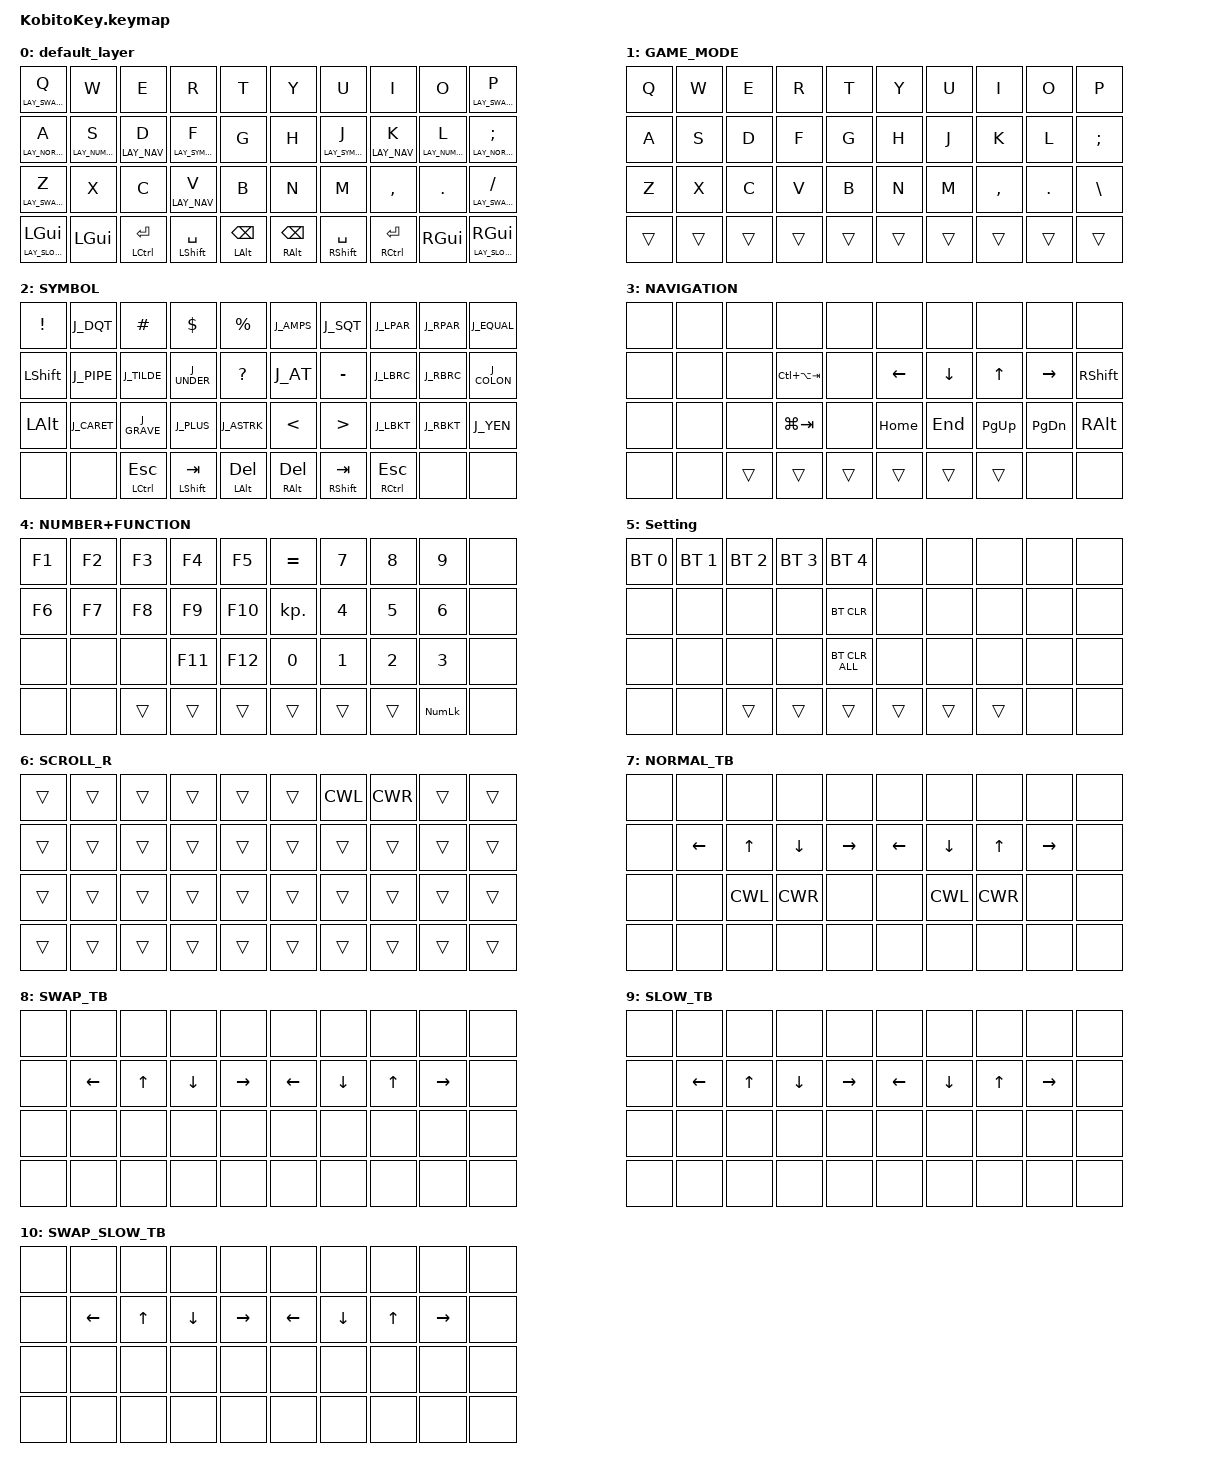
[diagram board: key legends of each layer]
#include <input/processors.dtsi>
#include <behaviors.dtsi>
#include <dt-bindings/zmk/bt.h>
#include <dt-bindings/zmk/keys.h>
#include <dt-bindings/zmk/pointing.h>
#include "my_defines.dtsi"

/ {
    /* ========================================
     * カスタムビヘイビア定義
     * ======================================== */
    behaviors {
        /* モッドタップ: 長押しで修飾キー、タップで通常キー */
        mt: mod_tap {
            compatible = "zmk,behavior-hold-tap";
            #binding-cells = <2>;
            tapping-term-ms = <200>;
            quick-tap-ms = <0>;
            flavor = "tap-preferred";
            bindings = <&kp>, <&kp>;
        };
    };
    
    /* ========================================
     * キーコンボ定義（同時押しで別のキーを発火）
     * ======================================== */
    combos {
        compatible = "zmk,combos";
        
        /* 13 + 16 同時押し → 半角（英数） */
        eisu {
            timeout-ms = <50>;
            key-positions = <13 16>;
            bindings = <&kp J_EISU>;
        };

        /* 12 + 17 同時押し → 全角（かな） */
        kana2 {
            timeout-ms = <50>;
            key-positions = <12 17>;
            bindings = <&kp J_KANA>;
        };

        /* 11 + 18 同時押し → 半角/全角切り替え */
        hanzen {
            timeout-ms = <50>;
            key-positions = <11 18>;
            bindings = <&kp J_HANZEN>;
        };

        /* 13 + 14 同時押し → _ (アンダースコア) */
        underscore_left {
            timeout-ms = <50>;
            key-positions = <13 14>;
            bindings = <&kp J_UNDER>;
        };

        /* 15 + 16 同時押し → - (ハイフン) */
        hyphen_right {
            timeout-ms = <50>;
            key-positions = <15 16>;
            bindings = <&kp MINUS>;
        };

        /* 23 + 24 同時押し → ? (クエスチョン) */
        question_left {
            timeout-ms = <50>;
            key-positions = <23 24>;
            bindings = <&kp QMARK>;
        };

        /* 3 + 4 同時押し → ! (エクスクラメーション) */
        exclamation_left {
            timeout-ms = <50>;
            key-positions = <3 4>;
            bindings = <&kp EXCL>;
        };

        /* 5 + 6 同時押し → @ (アットマーク) */
        at_right {
            timeout-ms = <50>;
            key-positions = <5 6>;
            bindings = <&kp J_AT>;
        };

        /* 21 + 22 同時押し → マウスボタン4（進む） */
        mouse_forward_left {
            timeout-ms = <50>;
            key-positions = <21 22>;
            layers = <LAY_NORMAL_TB LAY_SWAP_SLOW_TB LAY_SLOW_TB LAY_GAME>;
            bindings = <&mkp MB5>;
        };

        /* 3 + 13 同時押し → 左クリック */
        left_click_alt_left {
            timeout-ms = <50>;
            key-positions = <3 13>;
            layers = <LAY_NORMAL_TB LAY_SWAP_SLOW_TB LAY_SLOW_TB LAY_GAME>;
            bindings = <&mkp LCLK>;
        };

        /* 6 + 16 同時押し → 左クリック */
        left_click_alt_right {
            timeout-ms = <50>;
            key-positions = <6 16>;
            layers = <LAY_NORMAL_TB LAY_SWAP_SLOW_TB LAY_SLOW_TB LAY_GAME>;
            bindings = <&mkp LCLK>;
        };

        /* 2 + 12 同時押し → 右クリック */
        right_click_alt_left {
            timeout-ms = <50>;
            key-positions = <2 12>;
            layers = <LAY_NORMAL_TB LAY_SWAP_SLOW_TB LAY_SLOW_TB LAY_GAME>;
            bindings = <&mkp RCLK>;
        };

        /* 7 + 17 同時押し → 右クリック */
        right_click_alt_right {
            timeout-ms = <50>;
            key-positions = <7 17>;
            layers = <LAY_NORMAL_TB LAY_SWAP_SLOW_TB LAY_SLOW_TB LAY_GAME>;
            bindings = <&mkp RCLK>;
        };

        /* 1 + 11 同時押し → 中クリック */
        middle_click_alt_left {
            timeout-ms = <50>;
            key-positions = <1 11>;
            layers = <LAY_NORMAL_TB LAY_SWAP_SLOW_TB LAY_SLOW_TB LAY_GAME>;
            bindings = <&mkp MCLK>;
        };

        /* 8 + 18 同時押し → 中クリック */
        middle_click_alt_right {
            timeout-ms = <50>;
            key-positions = <8 18>;
            layers = <LAY_NORMAL_TB LAY_SWAP_SLOW_TB LAY_SLOW_TB LAY_GAME>;
            bindings = <&mkp MCLK>;
        };

        /* 13 + 23 同時押し → 戻るボタン */
        back_alt_left {
            timeout-ms = <50>;
            key-positions = <13 23>;
            layers = <LAY_NORMAL_TB LAY_SWAP_SLOW_TB LAY_SLOW_TB LAY_GAME>;
            bindings = <&mkp MB4>;
        };

        /* 16 + 26 同時押し → 戻るボタン */
        back_alt_right {
            timeout-ms = <50>;
            key-positions = <16 26>;
            layers = <LAY_NORMAL_TB LAY_SWAP_SLOW_TB LAY_SLOW_TB LAY_GAME>;
            bindings = <&mkp MB4>;
        };

        /* 12 + 22 同時押し → 進むボタン */
        forward_alt_left {
            timeout-ms = <50>;
            key-positions = <12 22>;
            layers = <LAY_NORMAL_TB LAY_SWAP_SLOW_TB LAY_SLOW_TB LAY_GAME>;
            bindings = <&mkp MB5>;
        };

        /* 17 + 27 同時押し → 進むボタン */
        forward_alt_right {
            timeout-ms = <50>;
            key-positions = <17 27>;
            layers = <LAY_NORMAL_TB LAY_SWAP_SLOW_TB LAY_SLOW_TB LAY_GAME>;
            bindings = <&mkp MB5>;
        };

        /* 11 + 21 同時押し → スクリーンショット */
        screenshot_left {
            timeout-ms = <50>;
            key-positions = <11 21>;
            layers = <LAY_NORMAL_TB LAY_SWAP_SLOW_TB LAY_SLOW_TB LAY_GAME>;
            bindings = <&snp_tl>;
        };

        /* 18 + 28 同時押し → スクリーンショット */
        screenshot_right {
            timeout-ms = <50>;
            key-positions = <18 28>;
            layers = <LAY_NORMAL_TB LAY_SWAP_SLOW_TB LAY_SLOW_TB LAY_GAME>;
            bindings = <&snp_tl>;
        };

        /* 8 + 9 同時押し → Layer5 (Setting)トグル */
        setting_mode {
            timeout-ms = <50>;
            key-positions = <8 9>;
            bindings = <&tog LAY_SETTING>;
        };

        /* 0 + 1 同時押し → Layer 1（GAME_MODE、旧layer7）トグル
         * ※旧ONIK_LAYOUT用コンボを転用。layer1の中身をGAME_MODEに差し替えたため、
         *   このコンボの役割もGAME_MODEのトグルに変更した。
         */
        toggle_game_mode {
            timeout-ms = <50>;
            key-positions = <0 1>;
            bindings = <&tog LAY_GAME>;
        };

        /* 16 + 17 同時押し（NUMBER+FUNCTIONレイヤー中のみ） → + */
        numfunc_plus {
            timeout-ms = <50>;
            key-positions = <16 17>;
            layers = <LAY_NUMFUNC>;
            bindings = <&kp KP_PLUS>;
        };

        /* 17 + 18 同時押し（NUMBER+FUNCTIONレイヤー中のみ） → - */
        numfunc_minus {
            timeout-ms = <50>;
            key-positions = <17 18>;
            layers = <LAY_NUMFUNC>;
            bindings = <&kp KP_MINUS>;
        };

        /* 26 + 27 同時押し（NUMBER+FUNCTIONレイヤー中のみ） → * */
        numfunc_multiply {
            timeout-ms = <50>;
            key-positions = <26 27>;
            layers = <LAY_NUMFUNC>;
            bindings = <&kp KP_MULTIPLY>;
        };

        /* 27 + 28 同時押し（NUMBER+FUNCTIONレイヤー中のみ） → / */
        numfunc_divide {
            timeout-ms = <50>;
            key-positions = <27 28>;
            layers = <LAY_NUMFUNC>;
            bindings = <&kp KP_DIVIDE>;
        };

    };

    /* ========================================
     * マクロ定義
     * ======================================== */
    macros {
        /* Windowsスクリーンショット（Win + Shift + S） */
        snp_tl: snp_tl {
            compatible = "zmk,behavior-macro";
            #binding-cells = <0>;
            bindings = <&macro_press &kp LGUI &kp LSHIFT>
                     , <&macro_tap &kp S>
                     , <&macro_release &kp LGUI &kp LSHIFT>;
        };
        
    };

    keymap {
        compatible = "zmk,keymap";

        default_layer {
            bindings =  <
&lt LAY_SWAP_SLOW_TB Q  &kp W              &kp E          &kp R             &kp T           &kp Y          &kp U             &kp I          &kp O              &lt LAY_SWAP_SLOW_TB P
&lt LAY_NORMAL_TB A     &lt LAY_NUMFUNC S  &lt LAY_NAV D  &lt LAY_SYMBOL F  &kp G           &kp H          &lt LAY_SYMBOL J  &lt LAY_NAV K  &lt LAY_NUMFUNC L  &lt LAY_NORMAL_TB SEMI
&lt LAY_SWAP_TB Z       &kp X              &kp C          &lt LAY_NAV V     &kp B           &kp N          &kp M             &kp COMMA      &kp DOT            &lt LAY_SWAP_TB SLASH
&lt LAY_SLOW_TB LGUI    &kp LGUI           &mt LCTRL RET  &mt LSHFT SPC     &mt LALT BSPC   &mt RALT BSPC  &mt RSHFT SPC     &mt RCTRL RET  &kp RGUI           &lt LAY_SLOW_TB RGUI
            >;
        };

        layer1 {
            label = "GAME_MODE";
            bindings = <
&kp Q                   &kp W              &kp E          &kp R             &kp T           &kp Y          &kp U             &kp I          &kp O              &kp P
&kp A                   &kp S              &kp D          &kp F             &kp G           &kp H          &kp J             &kp K          &kp L              &kp SEMI
&kp Z                   &kp X              &kp C          &kp V             &kp B           &kp N          &kp M             &kp COMMA      &kp DOT            &kp BACKSLASH
&trans                  &trans             &trans         &trans            &trans          &trans         &trans            &trans         &trans             &trans
            >;
        };

        layer2 {
            label = "SYMBOL";
            bindings = <
&kp EXCL                &kp J_DQT          &kp HASH       &kp DLLR          &kp PRCNT       &kp J_AMPS     &kp J_SQT         &kp J_LPAR     &kp J_RPAR         &kp J_EQUAL
&kp LSHFT               &kp J_PIPE         &kp J_TILDE    &kp J_UNDER       &kp QMARK       &kp J_AT       &kp MINUS         &kp J_LBRC     &kp J_RBRC         &kp J_COLON
&kp LALT                &kp J_CARET        &kp J_GRAVE    &kp J_PLUS        &kp J_ASTRK     &kp LT         &kp GT            &kp J_LBKT     &kp J_RBKT         &kp J_YEN
&none                   &none              &mt LCTRL ESC  &mt LSHFT TAB     &mt LALT DEL    &mt RALT DEL   &mt RSHFT TAB     &mt RCTRL ESC  &none              &none
            >;
        };

        layer3 {
            label = "NAVIGATION";
            bindings = <
&none                   &none              &none          &none             &none           &none          &none             &none          &none              &none
&none                   &none              &none          &kp LC(LA(TAB))   &none           &kp LEFT       &kp DOWN          &kp UP         &kp RIGHT          &kp RSHFT
&none                   &none              &none          &kp LG(TAB)       &none           &kp HOME       &kp END           &kp PG_UP      &kp PG_DN          &kp RALT
&none                   &none              &trans         &trans            &trans          &trans         &trans            &trans         &none              &none
            >;
        };

        layer4 {
            label = "NUMBER+FUNCTION";
            bindings = <
&kp F1                  &kp F2             &kp F3         &kp F4            &kp F5          &kp EQUAL      &kp N7            &kp N8         &kp N9             &none
&kp F6                  &kp F7             &kp F8         &kp F9            &kp F10         &kp KP_DOT     &kp N4            &kp N5         &kp N6             &none
&none                   &none              &none          &kp F11           &kp F12         &kp N0         &kp N1            &kp N2         &kp N3             &none
&none                   &none              &trans         &trans            &trans          &trans         &trans            &trans         &kp KP_NUM         &none
            >;
        };

        layer5 {
            label = "Setting";
            bindings = <
&bt BT_SEL 0            &bt BT_SEL 1       &bt BT_SEL 2   &bt BT_SEL 3      &bt BT_SEL 4    &none          &none             &none          &none              &none
&none                   &none              &none          &none             &bt BT_CLR      &none          &none             &none          &none              &none
&none                   &none              &none          &none             &bt BT_CLR_ALL  &none          &none             &none          &none              &none
&none                   &none              &trans         &trans            &trans          &trans         &trans            &trans         &none              &none
            >;
        };

        layer6 {
            label = "SCROLL_R";
            bindings = <
&trans                  &trans             &trans         &trans            &trans          &trans         &kp CWL           &kp CWR        &trans             &trans
&trans                  &trans             &trans         &trans            &trans          &trans         &trans            &trans         &trans             &trans
&trans                  &trans             &trans         &trans            &trans          &trans         &trans            &trans         &trans             &trans
&trans                  &trans             &trans         &trans            &trans          &trans         &trans            &trans         &trans             &trans
            >;
        };

        layer7 {
            label = "NORMAL_TB";
            bindings = <
&none                   &none              &none          &none             &none           &none          &none             &none          &none              &none
&none                   &kp LEFT           &kp UP         &kp DOWN          &kp RIGHT       &kp LEFT       &kp DOWN          &kp UP         &kp RIGHT          &none
&none                   &none              &kp CWL        &kp CWR           &none           &none          &kp CWL           &kp CWR        &none              &none
&none                   &none              &none          &none             &none           &none          &none             &none          &none              &none
            >;
        };

        layer8 {
            label = "SWAP_TB";
            bindings = <
&none                   &none              &none          &none             &none           &none          &none             &none          &none              &none
&none                   &kp LEFT           &kp UP         &kp DOWN          &kp RIGHT       &kp LEFT       &kp DOWN          &kp UP         &kp RIGHT          &none
&none                   &none              &none          &none             &none           &none          &none             &none          &none              &none
&none                   &none              &none          &none             &none           &none          &none             &none          &none              &none
            >;
        };

        layer9 {
            label = "SLOW_TB";
            bindings = <
&none                   &none              &none          &none             &none           &none          &none             &none          &none              &none
&none                   &kp LEFT           &kp UP         &kp DOWN          &kp RIGHT       &kp LEFT       &kp DOWN          &kp UP         &kp RIGHT          &none
&none                   &none              &none          &none             &none           &none          &none             &none          &none              &none
&none                   &none              &none          &none             &none           &none          &none             &none          &none              &none
            >;
        };

        layer10 {
            label = "SWAP_SLOW_TB";
            bindings = <
&none                   &none              &none          &none             &none           &none          &none             &none          &none              &none
&none                   &kp LEFT           &kp UP         &kp DOWN          &kp RIGHT       &kp LEFT       &kp DOWN          &kp UP         &kp RIGHT          &none
&none                   &none              &none          &none             &none           &none          &none             &none          &none              &none
&none                   &none              &none          &none             &none           &none          &none             &none          &none              &none
            >;
        };
    };
};
